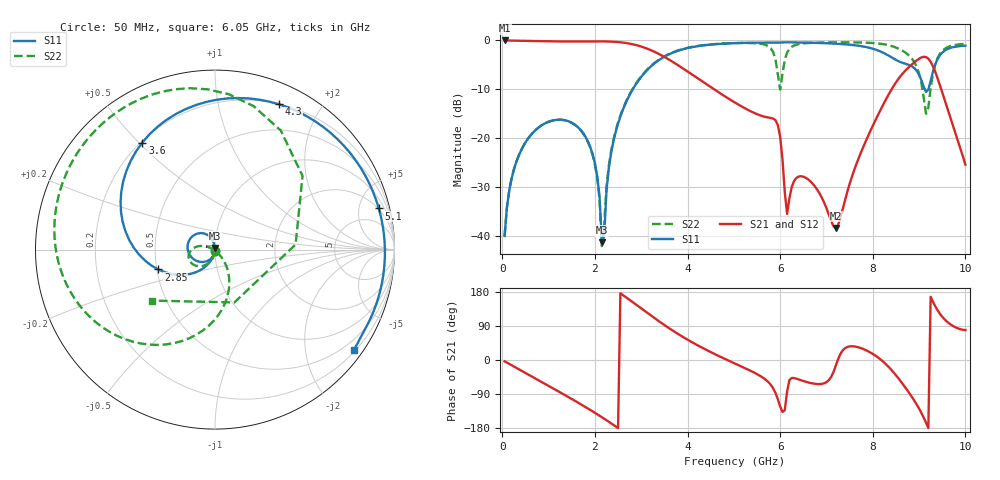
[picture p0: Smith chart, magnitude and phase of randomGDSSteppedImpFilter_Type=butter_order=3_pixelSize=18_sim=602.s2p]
! freq	dB(S11)	phase(S11)	dB(S12)	phase(S12)
!  dB(S21)	phase(S21)	dB(S22)	phase(S22)
!S-par simulation data
#  GHz  S  DB  R 50
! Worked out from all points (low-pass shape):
!   200 points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, 50 MHz to 10 GHz, reference 50 ohm
!   highest |S21| = -0.01 dB at 50 MHz (marker M1); lowest = -38.4 dB at 7.2 GHz (marker M2)
!   |S21| within 3 dB of the highest: start of sweep to 3.429 GHz
!   lowest |S11| = -41.3 dB at 2.15 GHz (marker M3), VSWR 1.02, Z = 49.8 + j0.833 ohm
!   |S11| at or under -10 dB: start of sweep to 2.818 GHz; 9.123 GHz to 9.202 GHz (78.92 MHz wide, 0.861 % of centre)
!   |S22| runs from -42.1 to -0.4 dB; largest |S21 - S12| = 0
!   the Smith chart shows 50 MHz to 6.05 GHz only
!   S11 on the Smith chart (normalised r, x): 50 MHz: 1.00, -0.02; 2.85 GHz: 0.51, -0.13; 3.6 GHz: 0.21, +0.51; 4.3 GHz: 0.20, +1.52; 5.1 GHz: 1.91, +7.62; 6.05 GHz: 0.25, -3.09
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0.05  -40.05 -93.6  -0.01 -3.5  -0.01 -3.5  -40.04 -92.3
0.6  -19.57 -139.3  -0.10 -41.1  -0.10 -41.1  -19.55 -123.8
1.75  -19.04 125.7  -0.20 -120.7  -0.20 -120.7  -19.11 173.1
2.15  -41.35 102.4  -0.20 -151.0  -0.20 -151.0  -42.13 -174.0
2.35  -23.05 -111.7  -0.25 -167.1  -0.25 -167.1  -22.66 -51.1
2.85  -9.49 -160.7  -0.86 149.6  -0.86 149.6  -9.36 -84.0
3.4  -3.91 143.3  -2.86 100.7  -2.86 100.7  -3.82 -124.7
3.6  -2.84 124.2  -3.93 84.0  -3.93 84.0  -2.77 -138.7
4.3  -1.06 66.1  -8.28 33.4  -8.28 33.4  -1.02 178.8
5.05  -0.54 17.0  -12.87 -10.8  -12.87 -10.8  -0.54 139.9
5.1  -0.53 14.1  -13.14 -13.6  -13.14 -13.6  -0.53 137.3
5.7  -0.46 -18.6  -15.71 -53.3  -15.71 -53.3  -0.97 92.6
5.9  -0.48 -28.5  -16.35 -87.1  -16.35 -87.1  -3.91 40.1
6.05  -0.41 -35.7  -24.28 -136.9  -24.28 -136.9  -6.88 -141.2
6.15  -0.38 -40.9  -35.52 -83.2  -35.52 -83.2  -2.51 163.7
6.7  -0.48 -68.6  -29.31 -61.8  -29.31 -61.8  -0.48 101.2
7.2  -0.67 -95.7  -38.42 -15.7  -38.42 -15.7  -0.39 76.7
8.35  -3.15 138.4  -10.94 -19.2  -10.94 -19.2  -1.00 23.2
8.8  -5.08 15.7  -5.28 -89.4  -5.28 -89.4  -3.25 -2.9
9.15  -10.54 -27.9  -3.41 -165.5  -3.41 -165.5  -15.02 9.0
9.4  -3.80 -24.5  -7.77 131.1  -7.77 131.1  -3.57 49.6
10  -1.07 -87.7  -25.44 79.0  -25.44 79.0  -0.70 5.2
